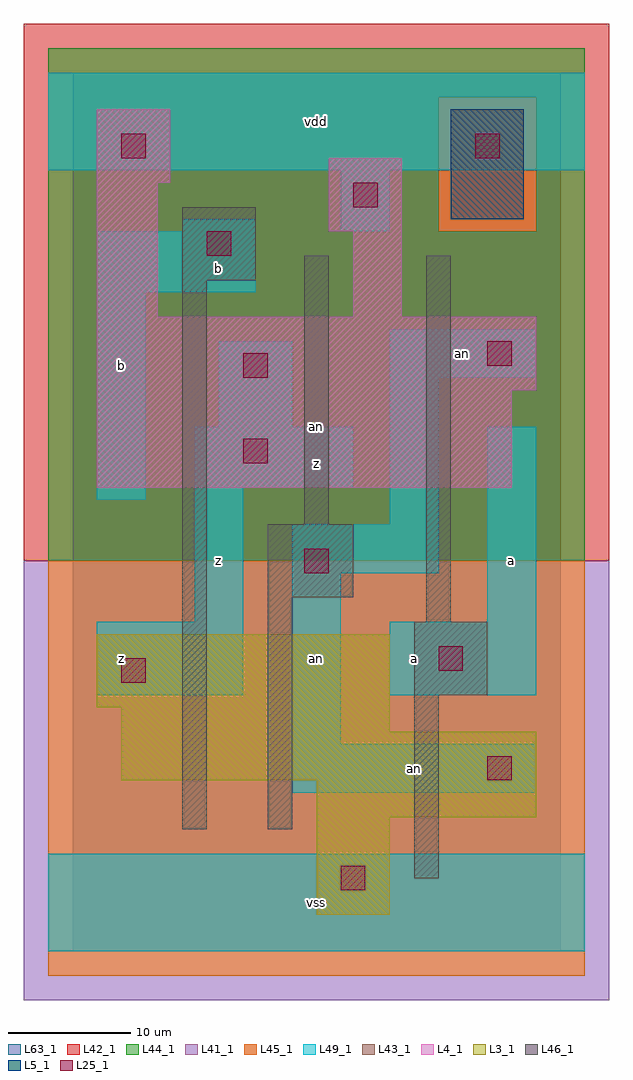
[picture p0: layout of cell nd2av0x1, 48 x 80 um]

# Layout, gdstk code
import gdstk
lib = gdstk.Library(unit=1e-6, precision=1e-09)
def R(c, l, rs):  # rectangles x0, y0, x1, y1
    for r in rs: c.add(gdstk.rectangle(r[:2], r[2:], *l))
L3_1 = (3, 1)
L4_1 = (4, 1)
L5_1 = (5, 1)
L25_1 = (25, 1)
L41_1 = (41, 1)
L42_1 = (42, 1)
L43_1 = (43, 1)
L44_1 = (44, 1)
L45_1 = (45, 1)
L46_1 = (46, 1)
L49_1 = (49, 1)
L63_1 = (63, 1)

nd2av0x1 = lib.new_cell('nd2av0x1')
R(nd2av0x1, L3_1, [(20,3,26,11), (20,11,38,14), (4,14,38,18), (4,18,26,20), (2,20,26,26)])
R(nd2av0x1, L4_1, [(2,38,36,46), (2,46,38,52), (2,52,7,63), (23,52,27,59), (21,59,27,65), (2,63,8,69)])
R(nd2av0x1, L5_1, [(31,60,37,69)])
R(nd2av0x1, L25_1, [(22,5,24,7), (34,14,36,16), (4,22,6,24), (30,23,32,25), (19,31,21,33), (14,40,16,42), (14,47,16,49), (34,48,36,50), (11,57,13,59), (23,61,25,63), (4,65,6,67), (33,65,35,67)])
R(nd2av0x1, L41_1, [(-4,-4,44,32)])
R(nd2av0x1, L42_1, [(-4,32,44,76)])
R(nd2av0x1, L43_1, [(20,3,26,11), (20,11,38,14), (4,14,38,18), (4,18,26,20), (2,20,26,26), (2,38,36,46), (2,46,38,52), (2,52,7,63), (23,52,27,59), (21,59,27,65), (31,60,37,69), (2,63,8,69)])
R(nd2av0x1, L44_1, [(-2,32,42,59), (-2,59,30,70), (38,59,42,70), (-2,70,42,74)])
R(nd2av0x1, L45_1, [(-2,-2,42,32), (30,59,38,70)])
R(nd2av0x1, L46_1, [(28,6,30,21), (9,10,11,55), (16,10,18,29), (28,21,34,27), (29,27,31,57), (16,29,23,35), (19,35,21,57), (9,55,15,61)])
R(nd2av0x1, L49_1, [(-2,0,42,8), (18,13,38,17), (18,17,22,31), (2,21,14,27), (26,21,38,27), (10,27,14,38), (34,27,38,43), (18,31,30,35), (26,35,30,47), (2,37,6,54), (10,38,23,43), (12,43,18,50), (26,47,38,51), (2,54,15,59), (9,59,15,60), (22,59,26,64), (-2,64,42,72)])
R(nd2av0x1, L63_1, [(0,0,40,72)])
nd2av0x1.add(gdstk.Label('an', (20,43), layer=46, texttype=1))
nd2av0x1.add(gdstk.Label('z', (4,24), layer=49, texttype=1))
nd2av0x1.add(gdstk.Label('b', (4,48), layer=49, texttype=1))
nd2av0x1.add(gdstk.Label('z', (12,32), layer=49, texttype=1))
nd2av0x1.add(gdstk.Label('b', (12,56), layer=49, texttype=1))
nd2av0x1.add(gdstk.Label('vss', (20,4), layer=49, texttype=1))
nd2av0x1.add(gdstk.Label('an', (20,24), layer=49, texttype=1))
nd2av0x1.add(gdstk.Label('a', (28,24), layer=49, texttype=1))
nd2av0x1.add(gdstk.Label('z', (20,40), layer=49, texttype=1))
nd2av0x1.add(gdstk.Label('vdd', (20,68), layer=49, texttype=1))
nd2av0x1.add(gdstk.Label('an', (28,15), layer=49, texttype=1))
nd2av0x1.add(gdstk.Label('a', (36,32), layer=49, texttype=1))
nd2av0x1.add(gdstk.Label('an', (32,49), layer=49, texttype=1))

lib.write_gds('nd2av0x1.gds')
